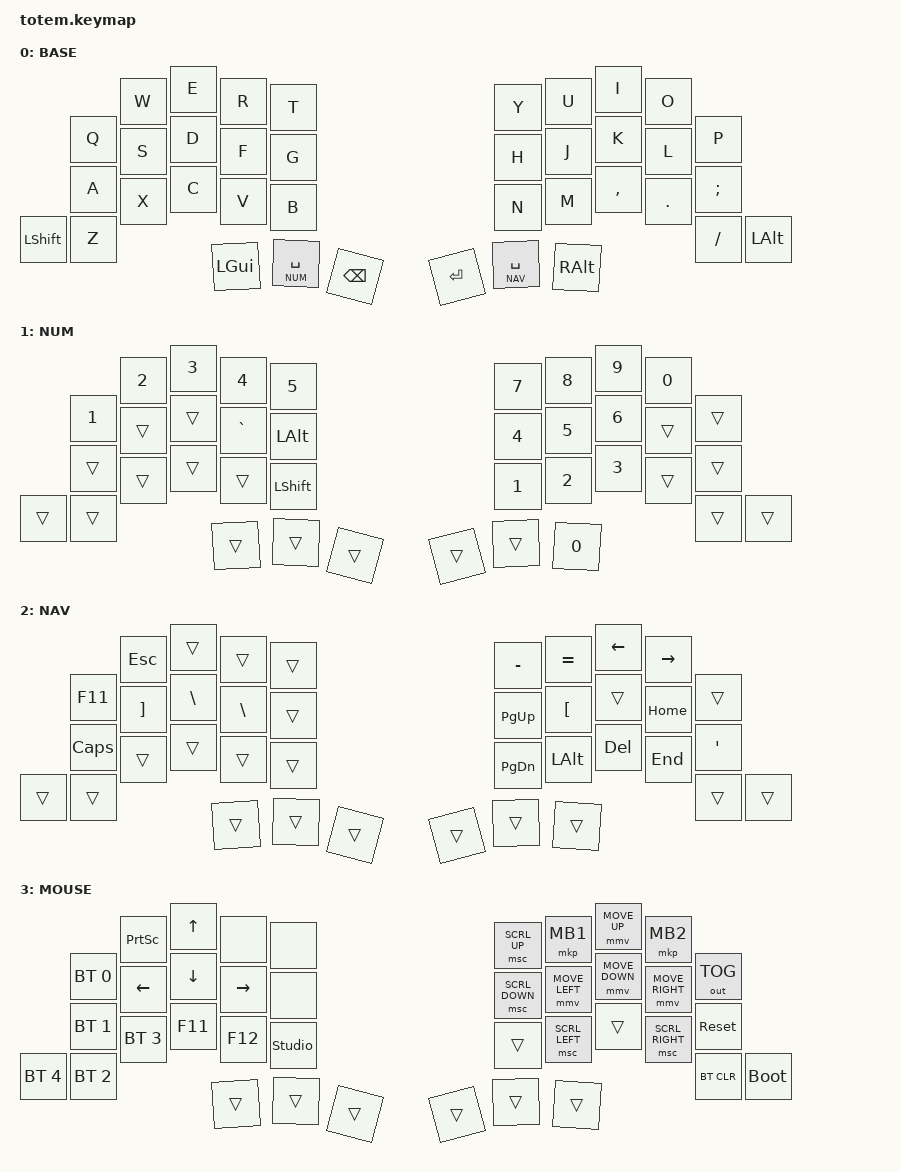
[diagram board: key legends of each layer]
/*
 * TOTEM (ZMK) - keymap portado do Cantor (4 camadas)
 *
 * Ordem das teclas (38) = ordem do arquivo, linha a linha:
 *   linha 1: 5 esq + 5 dir            (posicoes  0-9)
 *   linha 2: 5 esq + 5 dir            (posicoes 10-19)
 *   linha 3: 6 esq + 6 dir            (posicoes 20-31)  <- tecla extra no canto externo
 *   polegares: 3 esq + 3 dir          (posicoes 32-37)
 *
 * Camadas (iguais as do Cantor):
 *   0 BASE  - QWERTY
 *   1 NUM   - segura o espaco da ESQUERDA (numeros + numpad na mao direita)
 *   2 NAV   - segura o espaco da DIREITA  (setas, Home/End, PgUp/PgDn, simbolos)
 *   3 MOUSE - segura os dois espacos juntos (Layer 1 + 2), igual ao LT3 do Cantor
 */

#include <behaviors.dtsi>
#include <dt-bindings/zmk/bt.h>
#include <dt-bindings/zmk/keys.h>
#include <dt-bindings/zmk/outputs.h>
#include <dt-bindings/zmk/pointing.h>

#define BASE  0
#define NUM   1
#define NAV   2
#define MOUSE 3

/* Layer-tap do espaco (equivalente ao LT(n, KC_SPACE)) */

&lt {
    flavor = "balanced";
    tapping-term-ms = <200>;
    quick-tap-ms = <150>;
    require-prior-idle-ms = <120>;
};

/*
 * COMBOS - o Totem tem menos teclas que o Cantor, entao as teclas
 * da coluna externa (Tab, LCtrl, Esc) viraram combos na camada BASE.
 * Pode trocar as posicoes a vontade.
 */

/ {
    combos {
        compatible = "zmk,combos";

        combo_esc {
            timeout-ms = <40>;
            key-positions = <0 1>;      /* Q + W */
            bindings = <&kp ESC>;
            layers = <BASE>;
        };

        combo_tab {
            timeout-ms = <40>;
            key-positions = <0 10>;     /* Q + A */
            bindings = <&kp TAB>;
            layers = <BASE>;
        };

        combo_lctrl {
            timeout-ms = <40>;
            key-positions = <27 28>;    /* M + , */
            bindings = <&kp LCTRL>;
            layers = <BASE>;
        };

        ctrl_a {
            bindings = <&kp LC(A)>;
            key-positions = <21 22>;
        };

        ctrl_c {
            bindings = <&kp LC(C)>;
            key-positions = <22 23>;
        };

        ctrl_v {
            bindings = <&kp LC(V)>;
            key-positions = <23 24>;
        };

        acentuacao_e {
            bindings = <&kp LBKT>;
            key-positions = <16 17>;
        };

        acentuacao_a {
            bindings = <&kp SQT>;
            key-positions = <17 18>;
        };
    };

    /* Camada 3 liga sozinha quando as camadas 1 e 2 estao ativas ao mesmo tempo
       (segurar os dois espacos, em qualquer ordem). */

    conditional_layers {
        compatible = "zmk,conditional-layers";

        tri_layer {
            if-layers = <NUM NAV>;
            then-layer = <MOUSE>;
        };
    };

    keymap {
        compatible = "zmk,keymap";

        /* ---------------- CAMADA 0 : BASE ---------------- */

        base_layer {
            display-name = "BASE";
            bindings = <
           &kp Q  &kp W  &kp E     &kp R          &kp T       &kp Y    &kp U          &kp I      &kp O    &kp P
           &kp A  &kp S  &kp D     &kp F          &kp G       &kp H    &kp J          &kp K      &kp L    &kp SEMI
&kp LSHFT  &kp Z  &kp X  &kp C     &kp V          &kp B       &kp N    &kp M          &kp COMMA  &kp DOT  &kp FSLH  &kp LALT
                         &kp LGUI  &lt NUM SPACE  &kp BSPC    &kp RET  &lt NAV SPACE  &kp RALT
            >;
        };

        /* ---------------- CAMADA 1 : NUM ---------------- */
        /* esquerda: 1-5 (o 6 fica no numpad da direita), ~`, LAlt, LShift */

        num_layer {
            display-name = "NUM";
            bindings = <
        &kp N1  &kp N2  &kp N3  &kp N4     &kp N5       &kp N7  &kp N8  &kp N9  &kp N0  &trans
        &trans  &trans  &trans  &kp GRAVE  &kp LALT     &kp N4  &kp N5  &kp N6  &trans  &trans
&trans  &trans  &trans  &trans  &trans     &kp LSHFT    &kp N1  &kp N2  &kp N3  &trans  &trans  &trans
                        &trans  &trans     &trans       &trans  &trans  &kp N0
            >;
        };

        /* ---------------- CAMADA 2 : NAV ---------------- */

        nav_layer {
            display-name = "NAV";
            bindings = <
        &kp F11   &kp ESC   &trans    &trans    &trans    &kp MINUS  &kp EQUAL  &kp LEFT  &kp RIGHT  &trans
        &kp CAPS  &kp RBKT  &kp BSLH  &kp BSLH  &trans    &kp PG_UP  &kp LBKT   &trans    &kp HOME   &kp SQT
&trans  &trans    &trans    &trans    &trans    &trans    &kp PG_DN  &kp LALT   &kp DEL   &kp END    &trans   &trans
                            &trans    &trans    &trans    &trans     &trans     &trans
            >;
        };

        /* ---------------- CAMADA 3 : MOUSE / EXTRAS ---------------- */
        /* M0-M3 eram macros do Vial: deixei como &none (veja nota no fim do arquivo) */

        mouse_layer {
            display-name = "MOUSE";
            bindings = <
              &bt BT_SEL 0  &kp PSCRN     &kp UP    &none      &none             &msc SCRL_UP    &mkp MB1        &mmv MOVE_UP    &mkp MB2         &out OUT_TOG
              &bt BT_SEL 1  &kp LEFT      &kp DOWN  &kp RIGHT  &none             &msc SCRL_DOWN  &mmv MOVE_LEFT  &mmv MOVE_DOWN  &mmv MOVE_RIGHT  &sys_reset
&bt BT_SEL 4  &bt BT_SEL 2  &bt BT_SEL 3  &kp F11   &kp F12    &studio_unlock    &trans          &msc SCRL_LEFT  &trans          &msc SCRL_RIGHT  &bt BT_CLR    &bootloader
                                          &trans    &trans     &trans            &trans          &trans          &trans
            >;
        };

        /* Camadas vazias reservadas: o ZMK Studio permite usa-las para criar camadas novas */

        extra_layer_1 { status = "reserved"; };

        extra_layer_2 { status = "reserved"; };
    };
};

/*
 * Notas:
 * - M0..M3 (macros): se quiser recriar, defina macros ZMK (zmk,behavior-macro)
 *   e troque os &none da camada MOUSE (posicoes M0/M1/M2/M3).
 * - Mouse (&mmv, &msc, &mkp) exige CONFIG_ZMK_POINTING=y no totem.conf.
 *
 * Teclas Bluetooth/sistema (camada 3, nas posicoes livres):
 *   esquerda: BT_SEL 0 e 1 na coluna do Q/A, BT_SEL 4 (canto), 2 e 3 na linha de baixo
 *   direita : OUT_TOG (alterna USB/BLE) e sys_reset na coluna do P/;
 *             BT_CLR e bootloader nos dois cantos de baixo (longe de teclas de uso comum)
 *   BT_CLR apaga o pareamento do perfil ativo; bootloader coloca a metade em modo de gravacao.
 *   Cada metade e independente: use as teclas na metade que quiser reparear/gravar.
 */
